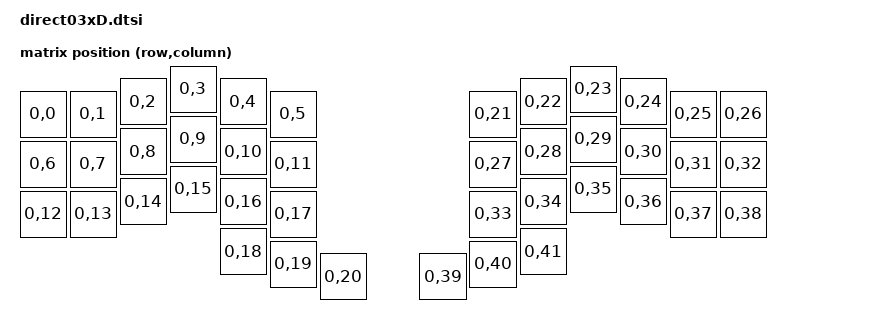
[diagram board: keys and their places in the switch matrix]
#include <dt-bindings/zmk/matrix_transform.h> 
#include <physical_layouts.dtsi>

/ {
    default_kscan: kscan {
    // https://zmk.dev/docs/config/kscan#direct-gpio-driver
        compatible = "zmk,kscan-gpio-direct";
        label = "default_kscan";
        wakeup-source;
    };
    
    default_transform: keymap_transform0 {
        compatible = "zmk,matrix-transform";
        columns = <1>;
        rows = <42>;
        map = <
            //left half
            RC(0,0) RC(0,1) RC(0,2) RC(0,3) RC(0,4) RC(0,5) 
            RC(0,6) RC(0,7) RC(0,8) RC(0,9) RC(0,10) RC(0,11) 
            RC(0,12) RC(0,13) RC(0,14) RC(0,15) RC(0,16) RC(0,17) 
                                                           RC(0,18) RC(0,19) RC(0,20)
            //right half (21 offset)
            RC(0,21) RC(0,22) RC(0,23) RC(0,24) RC(0,25) RC(0,26) 
            RC(0,27) RC(0,28) RC(0,29) RC(0,30) RC(0,31) RC(0,32) 
            RC(0,33) RC(0,34) RC(0,35) RC(0,36) RC(0,37) RC(0,38) 
            RC(0,39) RC(0,40) RC(0,41)
        >;
    };
    
    physical_layout0: physical_layout_0 { // First physical layout, use different naming for other layouts
        compatible = "zmk,physical-layout";
        display-name = "Default Layout";
        kscan = <&default_kscan>; // Label of the kscan node, optional if all layouts use the same
        transform = <&default_transform>; // Label of the matrix transform for this layout
        keys  //                     w   h     x    y     rot    rx    ry
            = <&key_physical_attrs 100 100     0   50       0     0     0> // Row 1
            , <&key_physical_attrs 100 100     100   50       0     0     0>
            , <&key_physical_attrs 100 100   200   25       0     0     0>
            , <&key_physical_attrs 100 100   300    0       0     0     0>
            , <&key_physical_attrs 100 100   400   25       0     0     0>
            , <&key_physical_attrs 100 100   500   50       0     0     0>
            , <&key_physical_attrs 100 100     0   150       0     0     0> // Row 2
            , <&key_physical_attrs 100 100     100  150       0     0     0> 
            , <&key_physical_attrs 100 100   200  125       0     0     0>
            , <&key_physical_attrs 100 100   300  100       0     0     0>
            , <&key_physical_attrs 100 100   400  125       0     0     0>
            , <&key_physical_attrs 100 100   500  150       0     0     0>
            , <&key_physical_attrs 100 100     0   250       0     0     0> // Row 3
            , <&key_physical_attrs 100 100     100  250       0     0     0> 
            , <&key_physical_attrs 100 100   200  225       0     0     0>
            , <&key_physical_attrs 100 100   300  200       0     0     0>
            , <&key_physical_attrs 100 100   400  225       0     0     0>
            , <&key_physical_attrs 100 100   500  250       0     0     0>
            , <&key_physical_attrs 100 100   400  325       0     0     0> // Row 4
            , <&key_physical_attrs 100 100   500  350       0     0     0>
            , <&key_physical_attrs 100 100   600  375       0     0     0>
            //Right side
            , <&key_physical_attrs 100 100   900   50       0     0     0> // Row 1
            , <&key_physical_attrs 100 100   1000   25       0     0     0>
            , <&key_physical_attrs 100 100   1100    0       0     0     0>
            , <&key_physical_attrs 100 100   1200   25       0     0     0>
            , <&key_physical_attrs 100 100    1300   50       0     0     0>
            ,<&key_physical_attrs 100 100     1400   50       0     0     0> 
            , <&key_physical_attrs 100 100   900   150       0     0     0> // Row 2
            , <&key_physical_attrs 100 100   1000   125       0     0     0>
            , <&key_physical_attrs 100 100   1100    100       0     0     0>
            , <&key_physical_attrs 100 100   1200   125       0     0     0>
            , <&key_physical_attrs 100 100    1300   150       0     0     0>
            ,<&key_physical_attrs 100 100     1400   150       0     0     0> 
            , <&key_physical_attrs 100 100   900   250       0     0     0> // Row 2
            , <&key_physical_attrs 100 100   1000   225       0     0     0>
            , <&key_physical_attrs 100 100   1100    200       0     0     0>
            , <&key_physical_attrs 100 100   1200   225       0     0     0>
            , <&key_physical_attrs 100 100    1300   250       0     0     0>
            ,<&key_physical_attrs 100 100     1400   250       0     0     0> 
            , <&key_physical_attrs 100 100   800   375       0     0     0> //Row 3
            , <&key_physical_attrs 100 100   900   350       0     0     0> 
            , <&key_physical_attrs 100 100   1000   325       0     0     0>
            ;
    };
    
    chosen {
        zmk,kscan = &default_kscan;
        zmk,physical-layout = &physical_layout0;
        // Other chosen items
    };
}; 



